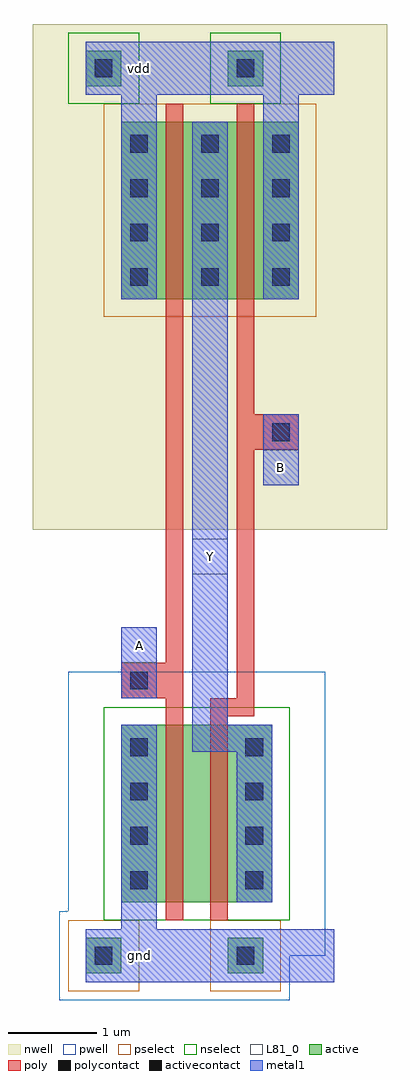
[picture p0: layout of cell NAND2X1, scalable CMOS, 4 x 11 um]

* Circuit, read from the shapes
.subckt NAND2X1 A B Y gnd vdd
M1 n1 A gnd gnd nfet w=2u l=0.2u
M2 Y B n1 gnd nfet w=2u l=0.2u
M3 Y A vdd vdd pfet w=2u l=0.2u
M4 vdd B Y vdd pfet w=2u l=0.2u
.ends

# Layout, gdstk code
import gdstk
lib = gdstk.Library(unit=1e-6, precision=1e-09)
def R(c, l, rs):  # rectangles x0, y0, x1, y1
    for r in rs: c.add(gdstk.rectangle(r[:2], r[2:], *l))
def A(c, l, x, y, w, h, nx, ny, dx, dy):  # array of equal rectangles
    R(c, l, [(x+i*dx, y+j*dy, x+i*dx+w, y+j*dy+h) for i in range(nx) for j in range(ny)])
pwell = (41, 0)
nwell = (42, 0)
active = (43, 0)
pselect = (44, 0)
nselect = (45, 0)
poly = (46, 0)
polycontact = (47, 0)
activecontact = (48, 0)
metal1 = (49, 0)
L81_0 = (81, 0)

nand2x1 = lib.new_cell('NAND2X1')
R(nand2x1, pwell, [(-0.5,-0.5,2.1,0), (-0.5,0,2.5,0.5), (-0.4,0.5,2.5,3.2)])
R(nand2x1, nwell, [(-0.8,4.8,3.2,10.5)])
R(nand2x1, active, [(-0.2,-0.2,0.2,0.2), (1.4,-0.2,1.8,0.2), (0.2,0.6,1.9,2.6), (0.2,7.4,2.2,9.4), (-0.2,9.8,0.2,10.2), (1.4,9.8,1.8,10.2)])
R(nand2x1, pselect, [(-0.4,-0.4,0.4,0.4), (1.2,-0.4,2,0.4), (0,7.2,2.4,9.6)])
R(nand2x1, nselect, [(0,0.4,2.1,2.8), (-0.4,9.6,0.4,10.4), (1.2,9.6,2,10.4)])
R(nand2x1, poly, [(0.7,0.4,0.9,2.9), (1.2,0.4,1.4,2.7), (1.2,2.7,1.7,2.9), (0.2,2.9,0.9,3.3), (1.5,2.9,1.7,5.7), (0.7,3.3,0.9,9.6), (1.5,5.7,2.2,6.1), (1.5,6.1,1.7,9.6)])
R(nand2x1, polycontact, [(0.3,3,0.5,3.2), (1.9,5.8,2.1,6)])
A(nand2x1, activecontact, 0.3, 0.75, 0.2, 0.2, 1, 4, 0, 0.5)
A(nand2x1, activecontact, 1.6, 0.75, 0.2, 0.2, 1, 4, 0, 0.5)
A(nand2x1, activecontact, 0.3, 7.55, 0.2, 0.2, 3, 4, 0.8, 0.5)
R(nand2x1, activecontact, [(-0.1,-0.1,0.1,0.1), (1.5,-0.1,1.7,0.1), (-0.1,9.9,0.1,10.1), (1.5,9.9,1.7,10.1)])
R(nand2x1, metal1, [(-0.2,-0.3,2.6,0.3), (0.2,0.3,0.6,2.6), (1.5,0.6,1.9,2.3), (1,2.3,1.9,2.6), (1,2.6,1.4,9.4), (0.2,2.9,0.6,3.7), (1.8,5.3,2.2,6.1), (0.2,7.4,0.6,9.7), (1.8,7.4,2.2,9.7), (-0.2,9.7,2.6,10.3)])
R(nand2x1, L81_0, [(0.2,3.3,0.6,3.7), (1,4.3,1.4,4.7), (1.8,5.3,2.2,5.7)])
nand2x1.add(gdstk.Label('vdd', (0.4,10), layer=49, texttype=0))
nand2x1.add(gdstk.Label('Y', (1.2,4.5), layer=49, texttype=0))
nand2x1.add(gdstk.Label('gnd', (0.4,0), layer=49, texttype=0))
nand2x1.add(gdstk.Label('A', (0.4,3.5), layer=49, texttype=0))
nand2x1.add(gdstk.Label('B', (2,5.5), layer=49, texttype=0))

lib.write_gds('NAND2X1.gds')
